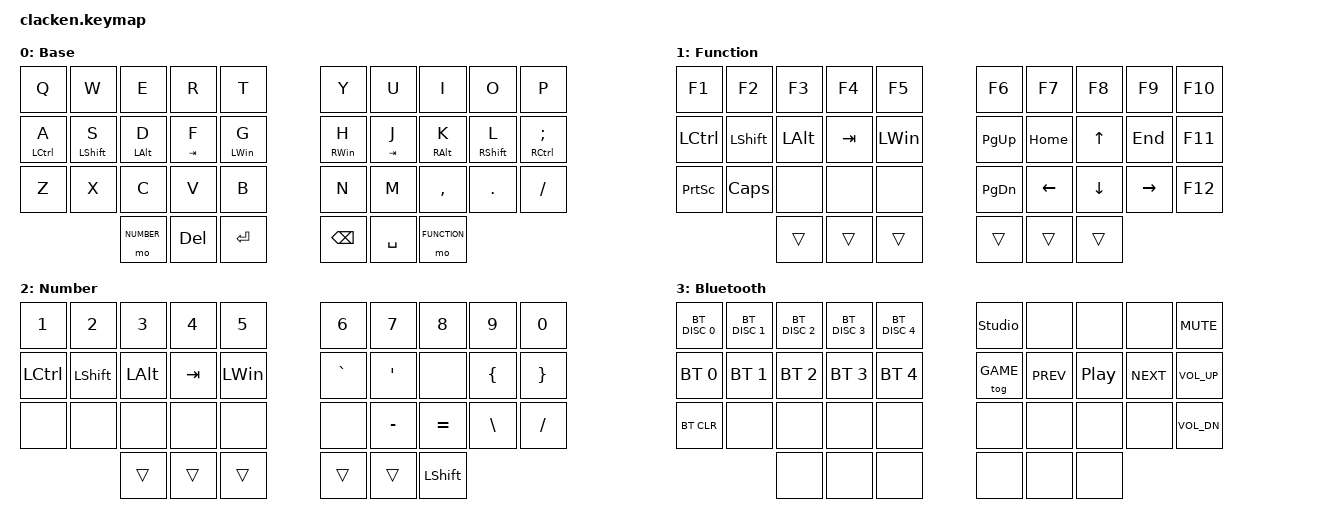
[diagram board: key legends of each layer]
#include <behaviors.dtsi>
#include <dt-bindings/zmk/keys.h>
#include <dt-bindings/zmk/bt.h>

#define DEFAULT 0
#define FUNCTION 1
#define NUMBER 2
#define BLUETOOTH 3
#define GAME 4



/ {

    behaviors {
        bhm: balanced_homerow_mods {
            compatible = "zmk,behavior-hold-tap";
            #binding-cells = <2>;
            tapping-term-ms = <200>;    // <---[[moderate duration]]
            quick-tap-ms = <0>;
            require-prior-idle-ms = <0>;
            flavor = "balanced";
            bindings = <&kp>, <&kp>;
        };
        combos {
            compatible = "zmk,combos";
            combo_esc {
                timeout-ms = <50>;
                key-positions = <0 10>;
                bindings = <&kp ESC>;
            };
            combo_ble {
                timeout-ms = <50>;
                key-positions = <30 35>;
                bindings = <&mo BLUETOOTH>;
            };
        };
    };

    keymap0: keymap0 {
        compatible = "zmk,keymap";

        default_layer { // Layer 0
            display-name = "Base";
            bindings = <
        &kp Q           &kp W           &kp E       &kp R       &kp T               &kp Y           &kp U       &kp I           &kp O           &kp P
        &bhm LCTRL A    &bhm LSHIFT S   &bhm LALT D &bhm TAB F  &bhm LWIN G         &bhm RWIN H     &bhm TAB J  &bhm RALT K     &bhm RSHIFT L   &bhm RCTRL SEMI
        &kp Z           &kp X           &kp C       &kp V       &kp B               &kp N           &kp M       &kp COMMA       &kp DOT         &kp FSLH
                                        &mo NUMBER  &kp DEL   &kp RET               &kp BSPC         &kp SPACE     &mo FUNCTION
            >;
        };

        function {
            display-name = "Function";
            bindings = <
                    &kp F1      &kp F2      &kp F3      &kp F4      &kp F5          &kp F6      &kp F7      &kp F8      &kp F9      &kp F10
                    &kp LCTRL   &kp LSHIFT  &kp LALT    &kp TAB     &kp LWIN        &kp PG_UP   &kp HOME    &kp UP      &kp END     &kp F11
                    &kp PSCRN   &kp CAPS    &none       &none       &none           &kp PG_DN   &kp LEFT    &kp DOWN    &kp RIGHT   &kp F12
                                            &trans      &trans      &trans          &trans      &trans      &trans
            >;
        };

        number {
            display-name = "Number";
            bindings = <
                    &kp N1      &kp N2      &kp N3      &kp N4      &kp N5          &kp N6      &kp N7      &kp N8      &kp N9      &kp N0
                    &kp LCTRL   &kp LSHIFT  &kp LALT    &kp TAB     &kp LWIN        &kp GRAVE   &kp SQT     &none       &kp LBRC    &kp RBRC
                    &none       &none       &none       &none       &none           &none       &kp MINUS   &kp EQUAL   &kp BSLH    &kp FSLH
                                            &trans      &trans      &trans          &trans      &trans      &kp LSHIFT
            >;
        };

        bluetooth {
            display-name = "Bluetooth";
            bindings = <
            &bt BT_DISC 0   &bt BT_DISC 1   &bt BT_DISC 2   &bt BT_DISC 3   &bt BT_DISC 4       &studio_unlock  &none       &none       &none       &kp C_MUTE
            &bt BT_SEL 0    &bt BT_SEL 1    &bt BT_SEL 2    &bt BT_SEL 3    &bt BT_SEL 4        &tog GAME           &kp K_PREV  &kp C_PP    &kp C_NEXT  &kp C_VOL_UP
            &bt BT_CLR      &none           &none           &none           &none               &none           &none       &none       &none       &kp C_VOL_DN
                                        &none           &none           &none               &none           &none       &none
            >;
        };

        extra5 {
            status = "reserved";
        };

        extra6 {
            status = "reserved";
        };

        extra7 {
            status = "reserved";
        };
    };
};
